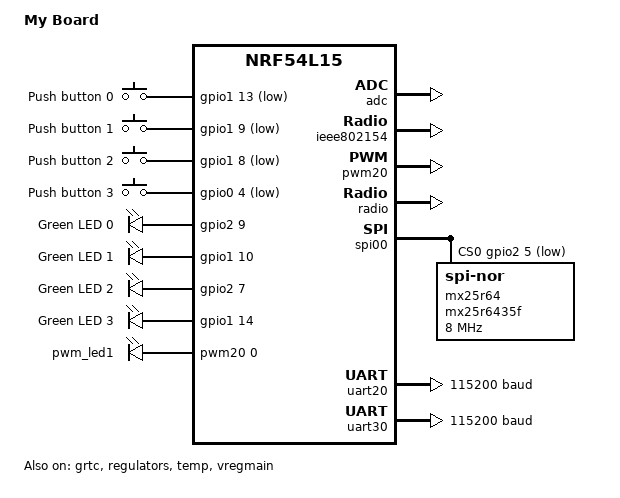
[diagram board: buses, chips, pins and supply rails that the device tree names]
/dts-v1/;

#include <nordic/nrf54l15_cpuapp.dtsi>
#include "myboard-pinctrl.dtsi"

/ {
	compatible = "vendor,myboard-nrf54l15-cpuapp";
	model = "My Board";

	chosen {
		zephyr,code-partition = &slot0_partition;
		zephyr,sram = &cpuapp_sram;
		zephyr,console = &uart20;
		zephyr,shell-uart = &uart20;
		zephyr,uart-mcumgr = &uart20;
		zephyr,bt-mon-uart = &uart20;
		zephyr,bt-c2h-uart = &uart20;
		zephyr,flash-controller = &rram_controller;
		zephyr,flash = &cpuapp_rram;
		zephyr,ieee802154 = &ieee802154;
	};

	buttons {
		compatible = "gpio-keys";
		button0: button_0 {
			gpios = <&gpio1 13 (GPIO_PULL_UP | GPIO_ACTIVE_LOW)>;
			label = "Push button 0";
			zephyr,code = <INPUT_KEY_0>;
		};
		button1: button_1 {
			gpios = <&gpio1 9 (GPIO_PULL_UP | GPIO_ACTIVE_LOW)>;
			label = "Push button 1";
			zephyr,code = <INPUT_KEY_1>;
		};
		button2: button_2 {
			gpios = <&gpio1 8 (GPIO_PULL_UP | GPIO_ACTIVE_LOW)>;
			label = "Push button 2";
			zephyr,code = <INPUT_KEY_2>;
		};
		button3: button_3 {
			gpios = <&gpio0 4 (GPIO_PULL_UP | GPIO_ACTIVE_LOW)>;
			label = "Push button 3";
			zephyr,code = <INPUT_KEY_3>;
		};
	};

	leds {
		compatible = "gpio-leds";
		led0: led_0 {
			gpios = <&gpio2 9 GPIO_ACTIVE_HIGH>;
			label = "Green LED 0";
		};
		led1: led_1 {
			gpios = <&gpio1 10 GPIO_ACTIVE_HIGH>;
			label = "Green LED 1";
		};
		led2: led_2 {
			gpios = <&gpio2 7 GPIO_ACTIVE_HIGH>;
			label = "Green LED 2";
		};
		led3: led_3 {
			gpios = <&gpio1 14 GPIO_ACTIVE_HIGH>;
			label = "Green LED 3";
		};
	};
 
	pwmleds {
		compatible = "pwm-leds";
		/*
		 * PWM signal can be exposed on GPIO pin only within same domain.
		 * There is only one domain which contains both PWM and GPIO:
		 * PWM20/21/22 and GPIO Port P1.
		 * Only LEDs connected to P1 can work with PWM, for example LED1.
		 */
		pwm_led1: pwm_led_1 {
			pwms = <&pwm20 0 PWM_MSEC(20) PWM_POLARITY_NORMAL>;
		};
	};
 
	aliases {
		led0 = &led0;
		led1 = &led1;
		led2 = &led2;
		led3 = &led3;
		pwm-led0 = &pwm_led1;
		sw0 = &button0;
		sw1 = &button1;
		sw2 = &button2;
		sw3 = &button3;
		watchdog0 = &wdt31;
	};
};

&adc {
	status = "okay";
};

&clock {
	status = "okay";
};

&cpuapp_rram {
	partitions {
		compatible = "fixed-partitions";
		#address-cells = <1>;
		#size-cells = <1>;
		boot_partition: partition@0 {
			label = "mcuboot";
			reg = <0x0 DT_SIZE_K(64)>;
		};
		slot0_partition: partition@10000 {
			label = "image-0";
			reg = <0x10000 DT_SIZE_K(324)>;
		};
		slot0_ns_partition: partition@61000 {
			label = "image-0-nonsecure";
			reg = <0x61000 DT_SIZE_K(324)>;
		};
		slot1_partition: partition@b2000 {
			label = "image-1";
			reg = <0xb2000 DT_SIZE_K(324)>;
		};
		slot1_ns_partition: partition@103000 {
			label = "image-1-nonsecure";
			reg = <0x103000 DT_SIZE_K(324)>;
		};
		/* 32k from 0x154000 to 0x15bfff reserved for TF-M partitions */
		storage_partition: partition@15c000 {
			label = "storage";
			reg = <0x15c000 DT_SIZE_K(36)>;
		};
	};
};

&cpuapp_sram {
	status = "okay";
};

&gpio0 {
	status = "okay";
};

&gpio1 {
	status = "okay";
};

&gpio2 {
	status = "okay";
};

&gpiote20 {
	status = "okay";
};

&gpiote30 {
	status = "okay";
};

&grtc {
	owned-channels = <0 1 2 3 4 5 6 7 8 9 10 11>;
	/* Channels 7-11 reserved for Zero Latency IRQs, 3-4 for FLPR */
	child-owned-channels = <3 4 7 8 9 10 11>;
	status = "okay";
};

&hfxo {
	load-capacitors = "internal";
	load-capacitance-femtofarad = <15000>;
};

&ieee802154 {
	status = "okay";
};

&lfxo {
	load-capacitors = "internal";
	load-capacitance-femtofarad = <15500>;
};

&pwm20 {
	status = "okay";
	pinctrl-0 = <&pwm20_default>;
	pinctrl-1 = <&pwm20_sleep>;
	pinctrl-names = "default", "sleep";
};

&radio {
	status = "okay";
};

&regulators {
	status = "okay";
};

&spi00 {
	status = "okay";
	cs-gpios = <&gpio2 5 GPIO_ACTIVE_LOW>;
	pinctrl-0 = <&spi00_default>;
	pinctrl-1 = <&spi00_sleep>;
	pinctrl-names = "default", "sleep";

	mx25r64: mx25r6435f@0 {
		compatible = "jedec,spi-nor";
		status = "okay";
		reg = <0>;
		spi-max-frequency = <8000000>;
		jedec-id = [c2 28 17];
		sfdp-bfp = [
			e5 20 f1 ff  ff ff ff 03  44 eb 08 6b  08 3b 04 bb
			ee ff ff ff  ff ff 00 ff  ff ff 00 ff  0c 20 0f 52
			10 d8 00 ff  23 72 f5 00  82 ed 04 cc  44 83 48 44
			30 b0 30 b0  f7 c4 d5 5c  00 be 29 ff  f0 d0 ff ff
		];
		size = <67108864>;
		has-dpd;
		t-enter-dpd = <10000>;
		t-exit-dpd = <35000>;
	};
};

&temp {
	status = "okay";
};

&uart20 {
	status = "okay";
	current-speed = <115200>;
	pinctrl-0 = <&uart20_default>;
	pinctrl-1 = <&uart20_sleep>;
	pinctrl-names = "default", "sleep";
};

&uart30 {
	current-speed = <115200>;
	pinctrl-0 = <&uart30_default>;
	pinctrl-1 = <&uart30_sleep>;
	pinctrl-names = "default", "sleep";
};

&vregmain {
	status = "okay";
	regulator-initial-mode = <NRF5X_REG_MODE_DCDC>;
};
